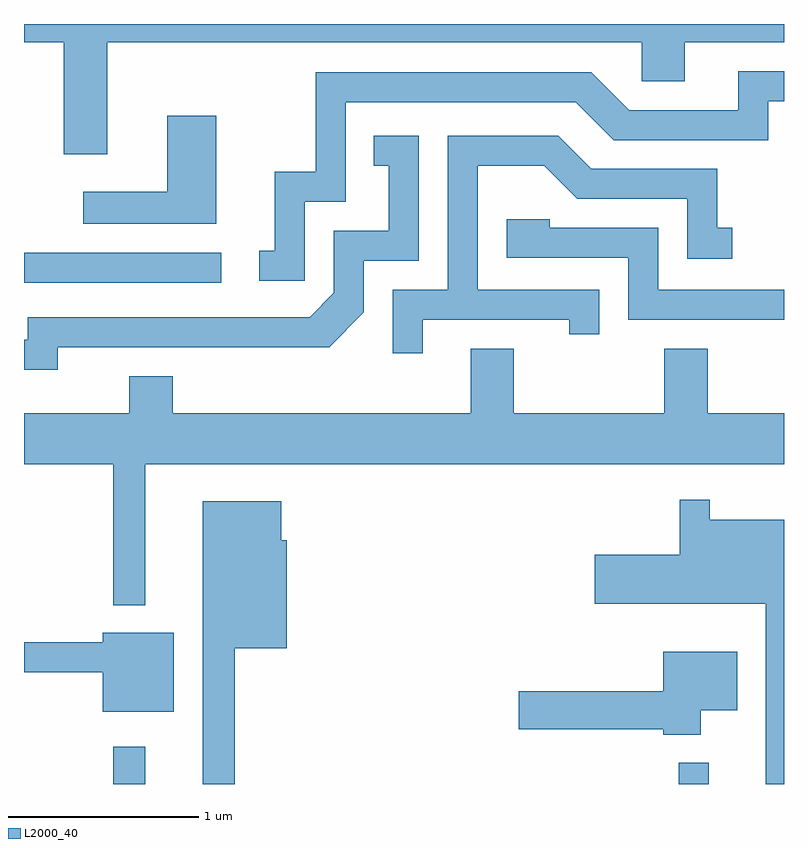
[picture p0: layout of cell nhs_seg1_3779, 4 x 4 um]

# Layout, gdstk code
import gdstk
lib = gdstk.Library(unit=1e-6, precision=1e-09)
def R(c, l, rs):  # rectangles x0, y0, x1, y1
    for r in rs: c.add(gdstk.rectangle(r[:2], r[2:], *l))
def P(c, l, *ps):  # polygons
    for p in ps: c.add(gdstk.Polygon(p, *l))
L2000_40 = (2000, 40)

nhs_seg1_3779 = lib.new_cell('nhs_seg1_3779')
R(nhs_seg1_3779, L2000_40, [(300.081,855.712,300.249,855.908), (303.056,855.712,303.214,855.823), (299.611,858.351,300.648,858.509)])
P(nhs_seg1_3779, L2000_40, [(300.049,859.616),(302.861,859.616),(302.861,859.411),(303.089,859.411),(303.089,859.616),(303.611,859.616),(303.611,859.712),(299.611,859.712),(299.611,859.616),(299.821,859.616),(299.821,859.026),(300.049,859.026)],
  [(301.089,858.776),(301.304,858.776),(301.304,859.301),(302.514,859.301),(302.714,859.101),(303.529,859.101),(303.529,859.306),(303.611,859.306),(303.611,859.464),(303.371,859.464),(303.371,859.259),(302.797,859.259),(302.597,859.459),(301.146,859.459),(301.146,858.934),(300.931,858.934),(300.931,858.519),(300.848,858.519),(300.848,858.361),(301.089,858.361)],
  [(300.624,859.229),(300.366,859.229),(300.366,858.829),(299.923,858.829),(299.923,858.661),(300.624,858.661)],
  [(301.709,858.156),(302.481,858.156),(302.481,858.078),(302.639,858.078),(302.639,858.314),(301.999,858.314),(301.999,858.966),(302.349,858.966),(302.524,858.791),(303.101,858.791),(303.101,858.476),(303.338,858.476),(303.338,858.639),(303.259,858.639),(303.259,858.949),(302.597,858.949),(302.422,859.124),(301.841,859.124),(301.841,858.314),(301.551,858.314),(301.551,857.978),(301.709,857.978)],
  [(299.789,858.011),(301.217,858.011),(301.399,858.194),(301.399,858.466),(301.689,858.466),(301.689,859.124),(301.453,859.124),(301.453,858.966),(301.531,858.966),(301.531,858.624),(301.241,858.624),(301.241,858.297),(301.114,858.169),(299.631,858.169),(299.631,858.049),(299.611,858.049),(299.611,857.891),(299.789,857.891)],
  [(303.611,858.314),(302.949,858.314),(302.949,858.639),(302.379,858.639),(302.379,858.684),(302.151,858.684),(302.151,858.481),(302.791,858.481),(302.791,858.156),(303.611,858.156)],
  [(300.249,857.396),(303.611,857.396),(303.611,857.664),(303.209,857.664),(303.209,858.004),(302.981,858.004),(302.981,857.664),(302.189,857.664),(302.189,858.004),(301.961,858.004),(301.961,857.664),(300.394,857.664),(300.394,857.859),(300.166,857.859),(300.166,857.664),(299.611,857.664),(299.611,857.396),(300.081,857.396),(300.081,856.653),(300.249,856.653)],
  [(303.611,857.104),(303.219,857.104),(303.219,857.208),(303.061,857.208),(303.061,856.919),(302.616,856.919),(302.616,856.661),(303.516,856.661),(303.516,855.712),(303.611,855.712)],
  [(300.719,856.426),(300.994,856.426),(300.994,856.994),(300.964,856.994),(300.964,857.199),(300.551,857.199),(300.551,855.712),(300.719,855.712)],
  [(300.399,856.509),(300.026,856.509),(300.026,856.459),(299.611,856.459),(299.611,856.301),(300.026,856.301),(300.026,856.091),(300.399,856.091)],
  [(303.174,856.101),(303.364,856.101),(303.364,856.409),(302.976,856.409),(302.976,856.199),(302.216,856.199),(302.216,856.001),(302.976,856.001),(302.976,855.971),(303.174,855.971)])

lib.write_gds('nhs_seg1_3779.gds')
